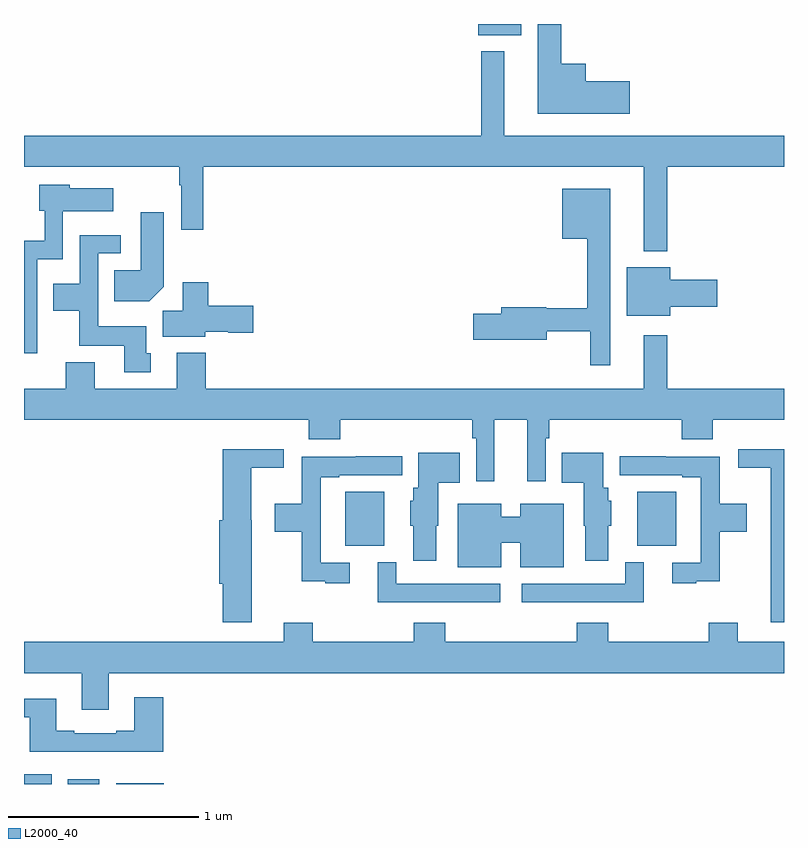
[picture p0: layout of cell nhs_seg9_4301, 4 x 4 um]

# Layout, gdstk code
import gdstk
lib = gdstk.Library(unit=1e-6, precision=1e-09)
def R(c, l, rs):  # rectangles x0, y0, x1, y1
    for r in rs: c.add(gdstk.rectangle(r[:2], r[2:], *l))
def P(c, l, *ps):  # polygons
    for p in ps: c.add(gdstk.Polygon(p, *l))
L2000_40 = (2000, 40)

nhs_seg9_4301 = lib.new_cell('nhs_seg9_4301')
R(nhs_seg9_4301, L2000_40, [(357,1198.5,357.145,1198.552), (357.23,1198.5,357.397,1198.525), (357.485,1198.5,357.736,1198.504), (358.691,1199.753,358.897,1200.037), (360.227,1199.753,360.433,1200.037), (359.39,1202.441,359.617,1202.5)])
P(nhs_seg9_4301, L2000_40, [(360.187,1202.198),(359.956,1202.198),(359.956,1202.29),(359.827,1202.29),(359.827,1202.5),(359.705,1202.5),(359.705,1202.027),(360.187,1202.027)],
  [(360.385,1201.748),(361,1201.748),(361,1201.912),(359.527,1201.912),(359.527,1202.356),(359.406,1202.356),(359.406,1201.912),(357,1201.912),(357,1201.748),(357.816,1201.748),(357.816,1201.652),(357.828,1201.652),(357.828,1201.416),(357.944,1201.416),(357.944,1201.748),(360.263,1201.748),(360.263,1201.304),(360.385,1201.304)],
  [(357.07,1201.262),(357.204,1201.262),(357.204,1201.514),(357.469,1201.514),(357.469,1201.636),(357.24,1201.636),(357.24,1201.654),(357.08,1201.654),(357.08,1201.518),(357.108,1201.518),(357.108,1201.359),(357,1201.359),(357,1200.768),(357.07,1200.768)],
  [(360.085,1201.633),(359.834,1201.633),(359.834,1201.37),(359.964,1201.37),(359.964,1201.003),(359.748,1201.003),(359.748,1201.01),(359.513,1201.01),(359.513,1200.974),(359.364,1200.974),(359.364,1200.839),(359.752,1200.839),(359.752,1200.882),(359.981,1200.882),(359.981,1200.705),(360.085,1200.705)],
  [(357.736,1201.118),(357.736,1201.51),(357.614,1201.51),(357.614,1201.204),(357.475,1201.204),(357.475,1201.04),(357.658,1201.04)],
  [(357.667,1200.768),(357.643,1200.768),(357.643,1200.91),(357.39,1200.91),(357.39,1201.293),(357.508,1201.293),(357.508,1201.389),(357.294,1201.389),(357.294,1201.132),(357.155,1201.132),(357.155,1200.992),(357.292,1200.992),(357.292,1200.806),(357.527,1200.806),(357.527,1200.666),(357.667,1200.666)],
  [(360.4,1201.012),(360.649,1201.012),(360.649,1201.154),(360.4,1201.154),(360.4,1201.219),(360.173,1201.219),(360.173,1200.965),(360.4,1200.965)],
  [(357.954,1200.881),(358.074,1200.881),(358.074,1200.874),(358.207,1200.874),(358.207,1201.016),(357.971,1201.016),(357.971,1201.141),(357.836,1201.141),(357.836,1200.992),(357.731,1200.992),(357.731,1200.854),(357.954,1200.854)],
  [(357.803,1200.769),(357.803,1200.58),(357.373,1200.58),(357.373,1200.721),(357.221,1200.721),(357.221,1200.58),(357,1200.58),(357,1200.416),(358.499,1200.416),(358.499,1200.314),(358.664,1200.314),(358.664,1200.416),(359.359,1200.416),(359.359,1200.32),(359.379,1200.32),(359.379,1200.093),(359.476,1200.093),(359.476,1200.416),(359.648,1200.416),(359.648,1200.093),(359.745,1200.093),(359.745,1200.32),(359.765,1200.32),(359.765,1200.416),(360.461,1200.416),(360.461,1200.314),(360.626,1200.314),(360.626,1200.416),(361,1200.416),(361,1200.58),(360.385,1200.58),(360.385,1200.862),(360.263,1200.862),(360.263,1200.58),(357.956,1200.58),(357.956,1200.769)],
  [(361,1200.262),(360.759,1200.262),(360.759,1200.164),(360.929,1200.164),(360.929,1199.352),(361,1199.352)],
  [(358.198,1199.889),(358.195,1199.889),(358.195,1200.164),(358.366,1200.164),(358.366,1200.262),(358.046,1200.262),(358.046,1199.889),(358.028,1199.889),(358.028,1199.553),(358.046,1199.553),(358.046,1199.352),(358.198,1199.352)],
  [(359.17,1199.859),(359.179,1199.859),(359.179,1200.086),(359.294,1200.086),(359.294,1200.244),(359.075,1200.244),(359.075,1200.06),(359.048,1200.06),(359.048,1199.991),(359.033,1199.991),(359.033,1199.859),(359.048,1199.859),(359.048,1199.676),(359.17,1199.676)],
  [(360.076,1199.859),(360.091,1199.859),(360.091,1199.991),(360.076,1199.991),(360.076,1200.06),(360.049,1200.06),(360.049,1200.244),(359.83,1200.244),(359.83,1200.086),(359.945,1200.086),(359.945,1199.859),(359.954,1199.859),(359.954,1199.676),(360.076,1199.676)],
  [(358.714,1199.664),(358.563,1199.664),(358.563,1200.114),(358.66,1200.114),(358.66,1200.126),(358.99,1200.126),(358.99,1200.224),(358.747,1200.224),(358.747,1200.222),(358.462,1200.222),(358.462,1199.974),(358.32,1199.974),(358.32,1199.827),(358.462,1199.827),(358.462,1199.567),(358.586,1199.567),(358.586,1199.556),(358.714,1199.556)],
  [(360.539,1199.567),(360.662,1199.567),(360.662,1199.827),(360.805,1199.827),(360.805,1199.974),(360.662,1199.974),(360.662,1200.222),(360.377,1200.222),(360.377,1200.224),(360.135,1200.224),(360.135,1200.126),(360.464,1200.126),(360.464,1200.114),(360.561,1200.114),(360.561,1199.664),(360.411,1199.664),(360.411,1199.556),(360.539,1199.556)],
  [(359.512,1199.771),(359.612,1199.771),(359.612,1199.642),(359.842,1199.642),(359.842,1199.974),(359.612,1199.974),(359.612,1199.906),(359.512,1199.906),(359.512,1199.974),(359.282,1199.974),(359.282,1199.642),(359.512,1199.642)],
  [(360.262,1199.668),(360.165,1199.668),(360.165,1199.553),(359.619,1199.553),(359.619,1199.457),(360.262,1199.457)],
  [(359.506,1199.553),(358.959,1199.553),(358.959,1199.668),(358.862,1199.668),(358.862,1199.457),(359.506,1199.457)],
  [(357.445,1199.084),(361,1199.084),(361,1199.248),(360.757,1199.248),(360.757,1199.35),(360.605,1199.35),(360.605,1199.248),(360.074,1199.248),(360.074,1199.35),(359.909,1199.35),(359.909,1199.248),(359.216,1199.248),(359.216,1199.35),(359.051,1199.35),(359.051,1199.248),(358.52,1199.248),(358.52,1199.35),(358.367,1199.35),(358.367,1199.248),(357,1199.248),(357,1199.084),(357.305,1199.084),(357.305,1198.89),(357.445,1198.89)],
  [(357.734,1198.957),(357.581,1198.957),(357.581,1198.78),(357.485,1198.78),(357.485,1198.767),(357.265,1198.767),(357.265,1198.78),(357.169,1198.78),(357.169,1198.948),(357,1198.948),(357,1198.851),(357.029,1198.851),(357.029,1198.67),(357.734,1198.67)])

lib.write_gds('nhs_seg9_4301.gds')
